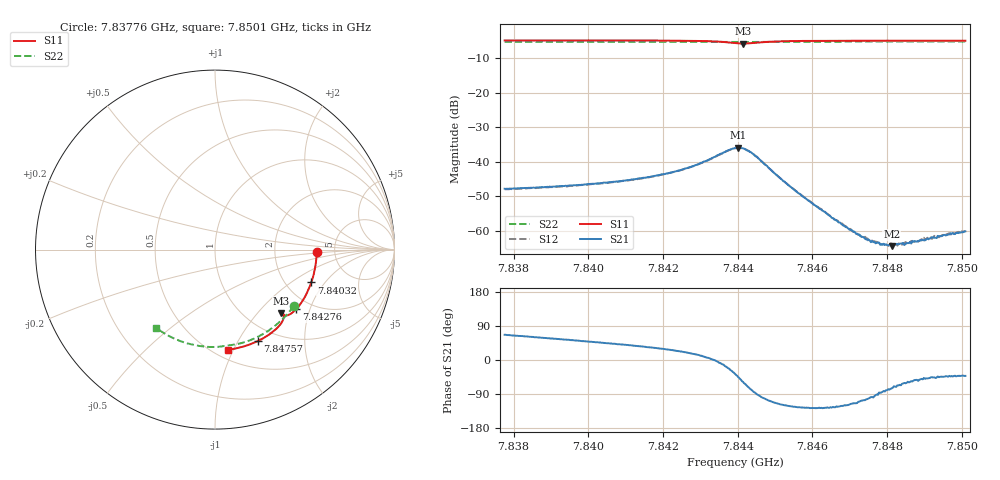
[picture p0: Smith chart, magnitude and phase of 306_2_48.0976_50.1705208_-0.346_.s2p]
#  HZ  S  RI  R  50.00
! Rohde & Schwarz Vector Network Analyzer
! Rohde-Schwarz,ZNB20-2Port,1311601062101988,3.16
! Created: UTC 12/23/2023, 4:05:17 AM
! freq[Hz]  re:S11  im:S11  re:S21  im:S21  re:S12  im:S12  re:S22  im:S22
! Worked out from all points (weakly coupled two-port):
!   401 points, 7.83776 GHz to 7.8501 GHz, reference 50 ohm
!   highest |S21| = -35.99 dB at 7.84402 GHz (marker M1); lowest = -64.5 dB at 7.84812 GHz (marker M2)
!   lowest |S11| = -5.8 dB at 7.84414 GHz (marker M3), VSWR 3.10, Z = 70.7 - j67.8 ohm
!   |S11| at or under -10 dB: nowhere
!   |S22| runs from -5.4 to -5.3 dB; largest |S21 - S12| = 0.00032
!   S11 on the Smith chart (normalised r, x): 7.83776 GHz: 3.61, -0.16; 7.84032 GHz: 2.73, -1.47; 7.84276 GHz: 1.67, -1.62; 7.84757 GHz: 0.81, -1.21; 7.8501 GHz: 0.59, -0.96
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7.837761e9  0.5664 -0.0149  0.00162 0.00372  0.00161 0.00363  0.4388 -0.3146
7.839827e9  0.5465 -0.1512  0.00299 0.00354  0.00294 0.00353  0.34 -0.4202
7.84032e9  0.5366 -0.1828  0.00338 0.00352  0.00333 0.00347  0.3126 -0.4413
7.841893e9  0.4908 -0.2807  0.00549 0.00328  0.00541 0.00323  0.2169 -0.496
7.842756e9  0.4526 -0.3315  0.00805 0.00251  0.00802 0.00254  0.16 -0.5172
7.843496e9  0.4041 -0.3661  0.0125 -0.00147  0.0124 -0.00136  0.1091 -0.5293
7.843928e9  0.3724 -0.3625  0.0126 -0.00931  0.0126 -0.00935  0.0804 -0.5329
7.84402e9  0.3698 -0.358  0.0111 -0.0114  0.0112 -0.0111  0.0746 -0.5337
7.844144e9  0.3701 -0.3537  0.00822 -0.0132  0.00815 -0.0131  0.0669 -0.5346
7.844452e9  0.3811 -0.3586  0.000956 -0.0123  0.00102 -0.0124  0.0471 -0.5379
7.845346e9  0.3622 -0.4193  -0.00239 -0.00396  -0.00238 -0.00395  -0.0156 -0.5428
7.845994e9  0.3289 -0.4526  -0.0015 -0.00201  -0.00151 -0.00201  -0.0612 -0.5404
7.84695e9  0.274 -0.4907  -0.000527 -0.000951  -0.000557 -0.000965  -0.1274 -0.529
7.84732e9  0.2522 -0.5029  -0.000243 -0.000781  -0.000228 -0.000788  -0.1528 -0.5227
7.847567e9  0.237 -0.5102  -9.62e-05 -0.000676  -0.000102 -0.000702  -0.1693 -0.5177
7.847844e9  0.2199 -0.5181  4.75e-05 -0.000639  9.2e-05 -0.000622  -0.1878 -0.5116
7.84806e9  0.2066 -0.5237  0.000126 -0.000603  0.000146 -0.000601  -0.202 -0.5062
7.848122e9  0.2027 -0.5251  0.000154 -0.000578  0.000208 -0.000618  -0.206 -0.5045
7.848338e9  0.189 -0.5302  0.000269 -0.000588  0.000277 -0.000589  -0.22 -0.4988
7.848523e9  0.1773 -0.5343  0.000325 -0.00057  0.000356 -0.000563  -0.2318 -0.4935
7.849633e9  0.1057 -0.5528  0.000634 -0.000616  0.000659 -0.000619  -0.2999 -0.4561
7.850095e9  0.0752 -0.5574  0.000729 -0.000655  0.000707 -0.000661  -0.3268 -0.4374
